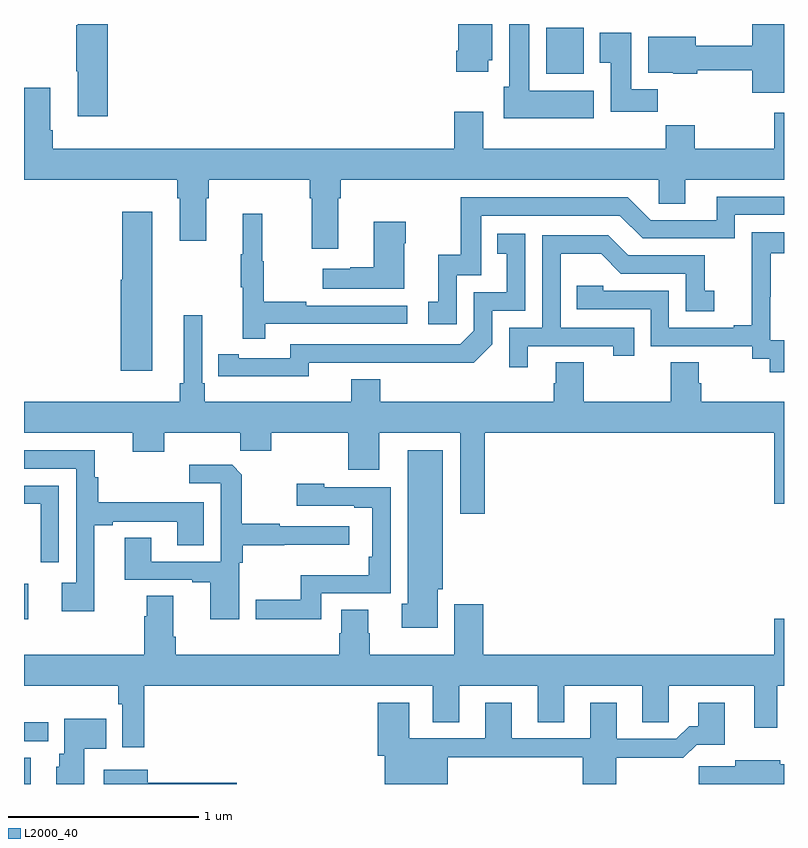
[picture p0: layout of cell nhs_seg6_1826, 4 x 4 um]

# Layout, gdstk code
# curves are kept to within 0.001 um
import gdstk
lib = gdstk.Library(unit=1e-6, precision=1e-09)
def R(c, l, rs):  # rectangles x0, y0, x1, y1
    for r in rs: c.add(gdstk.rectangle(r[:2], r[2:], *l))
def P(c, l, *ps):  # polygons
    for p in ps: c.add(gdstk.Polygon(p, *l))
L2000_40 = (2000, 40)

nhs_seg6_1826 = lib.new_cell('nhs_seg6_1826')
R(nhs_seg6_1826, L2000_40, [(221,933.5,221.035,933.637), (221,933.726,221.128,933.824), (221,934.367,221.023,934.554), (223.748,937.238,223.945,937.48)])
P(nhs_seg6_1826, L2000_40, [(223.999,937.15),(223.66,937.15),(223.66,937.5),(223.553,937.5),(223.553,937.17),(223.526,937.17),(223.526,937.004),(223.999,937.004)],
  [(221.441,937.5),(221.282,937.5),(221.282,937.493),(221.275,937.493),(221.275,937.252),(221.282,937.252),(221.282,937.014),(221.441,937.014)],
  [(223.444,937.308),(223.465,937.308),(223.465,937.5),(223.286,937.5),(223.286,937.36),(223.274,937.36),(223.274,937.248),(223.444,937.248)],
  [(225,937.498),(224.833,937.498),(224.833,937.385),(224.536,937.385),(224.536,937.432),(224.285,937.432),(224.285,937.244),(224.418,937.244),(224.418,937.238),(224.544,937.238),(224.544,937.257),(224.833,937.257),(224.833,937.137),(225,937.137)],
  [(224.336,937.156),(224.197,937.156),(224.197,937.453),(224.03,937.453),(224.03,937.297),(224.087,937.297),(224.087,937.038),(224.336,937.038)],
  [(222.655,936.584),(222.668,936.584),(222.668,936.68),(224.34,936.68),(224.34,936.553),(224.479,936.553),(224.479,936.68),(225,936.68),(225,937.033),(224.948,937.033),(224.948,936.844),(224.529,936.844),(224.529,936.968),(224.377,936.968),(224.377,936.844),(223.417,936.844),(223.417,937.039),(223.265,937.039),(223.265,936.844),(221.15,936.844),(221.15,936.94),(221.137,936.94),(221.137,937.165),(221,937.165),(221,936.68),(221.807,936.68),(221.807,936.584),(221.819,936.584),(221.819,936.36),(221.959,936.36),(221.959,936.584),(221.972,936.584),(221.972,936.68),(222.503,936.68),(222.503,936.584),(222.515,936.584),(222.515,936.318),(222.655,936.318)],
  [(223.278,936.177),(223.407,936.177),(223.407,936.492),(224.136,936.492),(224.256,936.372),(224.742,936.372),(224.742,936.495),(225,936.495),(225,936.591),(224.645,936.591),(224.645,936.468),(224.298,936.468),(224.178,936.588),(223.299,936.588),(223.299,936.286),(223.181,936.286),(223.181,936.039),(223.128,936.039),(223.128,935.919),(223.278,935.919)],
  [(221.674,936.511),(221.516,936.511),(221.516,936.153),(221.51,936.153),(221.51,935.676),(221.674,935.676)],
  [(222.269,935.922),(223.018,935.922),(223.018,936.018),(222.485,936.018),(222.485,936.038),(222.262,936.038),(222.262,936.252),(222.254,936.252),(222.254,936.502),(222.152,936.502),(222.152,936.289),(222.141,936.289),(222.141,936.115),(222.152,936.115),(222.152,935.844),(222.269,935.844)],
  [(223,936.347),(223.008,936.347),(223.008,936.46),(222.842,936.46),(222.842,936.221),(222.716,936.221),(222.716,936.211),(222.573,936.211),(222.573,936.107),(223,936.107)],
  [(225,935.835),(224.928,935.835),(224.928,936.065),(224.93,936.065),(224.93,936.293),(225,936.293),(225,936.403),(224.83,936.403),(224.83,936.197),(224.831,936.197),(224.831,935.914),(224.735,935.914),(224.735,935.901),(224.394,935.901),(224.394,936.096),(224.049,936.096),(224.049,936.123),(223.909,936.123),(223.909,936),(224.298,936),(224.298,935.805),(224.832,935.805),(224.832,935.737),(224.925,935.737),(224.925,935.667),(225,935.667)],
  [(222.498,935.718),(223.366,935.717),(223.464,935.814),(223.464,935.991),(223.638,935.991),(223.638,936.397),(223.492,936.397),(223.492,936.291),(223.541,936.291),(223.541,936.087),(223.368,936.087),(223.368,935.886),(223.296,935.814),(222.402,935.814),(222.402,935.742),(222.13,935.742),(222.13,935.762),(222.022,935.762),(222.022,935.646),(222.498,935.645)],
  [(223.651,935.805),(224.102,935.805),(224.102,935.754),(224.213,935.754),(224.213,935.901),(223.824,935.901),(223.824,936.29),(224.038,936.29),(224.142,936.186),(224.484,936.186),(224.484,935.988),(224.632,935.988),(224.632,936.097),(224.583,936.097),(224.583,936.282),(224.179,936.282),(224.074,936.387),(223.728,936.387),(223.728,935.901),(223.554,935.901),(223.554,935.694),(223.651,935.694)],
  [(223.424,935.348),(224.948,935.348),(224.948,934.974),(225,934.974),(225,935.512),(224.564,935.512),(224.564,935.61),(224.551,935.61),(224.551,935.72),(224.404,935.72),(224.404,935.512),(223.947,935.512),(223.947,935.72),(223.799,935.72),(223.799,935.61),(223.787,935.61),(223.787,935.512),(222.875,935.512),(222.875,935.629),(222.722,935.629),(222.722,935.512),(221.951,935.512),(221.951,935.608),(221.937,935.608),(221.937,935.968),(221.84,935.968),(221.84,935.608),(221.821,935.608),(221.821,935.512),(221,935.512),(221,935.348),(221.573,935.348),(221.573,935.249),(221.737,935.249),(221.737,935.348),(222.137,935.348),(222.137,935.255),(222.301,935.255),(222.301,935.348),(222.707,935.348),(222.707,935.154),(222.871,935.154),(222.871,935.348),(223.295,935.348),(223.295,934.923),(223.424,934.923)],
  [(223.177,934.524),(223.204,934.524),(223.204,935.257),(223.019,935.257),(223.019,934.448),(222.989,934.448),(222.989,934.322),(223.177,934.322)],
  [(221.371,934.861),(221.467,934.861),(221.467,934.881),(221.807,934.881),(221.807,934.756),(221.947,934.756),(221.947,934.982),(221.39,934.982),(221.39,935.114),(221.372,935.114),(221.372,935.256),(221.001,935.256),(221.001,935.16),(221.274,935.16),(221.274,934.558),(221.199,934.558),(221.199,934.41),(221.371,934.41)],
  [(222.132,934.664),(222.152,934.664),(222.152,934.756),(222.371,934.756),(222.371,934.76),(222.712,934.76),(222.712,934.857),(222.347,934.857),(222.347,934.87),(222.147,934.87),(222.147,935.127),(222.095,935.179),(221.871,935.179),(221.871,935.082),(222.036,935.082),(222.036,934.671),(221.671,934.671),(221.671,934.796),(221.531,934.796),(221.531,934.575),(221.885,934.575),(221.885,934.563),(221.981,934.563),(221.981,934.368),(222.132,934.368)],
  [(222.564,934.503),(222.93,934.503),(222.93,935.061),(222.579,935.061),(222.579,935.08),(222.435,935.08),(222.435,934.965),(222.737,934.965),(222.737,934.953),(222.834,934.953),(222.834,934.696),(222.814,934.696),(222.814,934.6),(222.456,934.6),(222.456,934.469),(222.219,934.469),(222.219,934.367),(222.564,934.367)],
  [(221.184,935.07),(221,935.07),(221,934.974),(221.088,934.974),(221.088,934.668),(221.184,934.668)],
  [(221.633,934.016),(223.151,934.016),(223.151,933.826),(223.291,933.826),(223.291,934.016),(223.703,934.016),(223.703,933.826),(223.843,933.826),(223.843,934.016),(224.255,934.016),(224.255,933.826),(224.394,933.826),(224.394,934.016),(224.843,934.016),(224.843,933.795),(224.965,933.795),(224.965,934.016),(225,934.016),(225,934.369),(224.948,934.369),(224.948,934.18),(223.418,934.18),(223.418,934.447),(223.265,934.447),(223.265,934.18),(222.819,934.18),(222.819,934.293),(222.811,934.293),(222.811,934.418),(222.671,934.418),(222.671,934.293),(222.659,934.293),(222.659,934.18),(221.798,934.18),(221.798,934.276),(221.785,934.276),(221.785,934.49),(221.645,934.49),(221.645,934.382),(221.633,934.382),(221.633,934.18),(221,934.18),(221,934.016),(221.497,934.016),(221.497,933.92),(221.517,933.92),(221.517,933.693),(221.633,933.693)],
  [(223.231,933.64),(223.94,933.64),(223.94,933.5),(224.118,933.5),(224.118,933.638),(224.471,933.638),(224.54,933.707),(224.689,933.707),(224.689,933.928),(224.549,933.928),(224.549,933.805),(224.5,933.805),(224.433,933.738),(224.119,933.738),(224.119,933.928),(223.979,933.928),(223.979,933.741),(223.567,933.741),(223.567,933.928),(223.427,933.928),(223.427,933.741),(223.027,933.741),(223.027,933.928),(222.863,933.928),(222.863,933.648),(222.899,933.648),(222.899,933.5),(223.231,933.5)],
  [(221.317,933.686),(221.432,933.686),(221.432,933.844),(221.213,933.844),(221.213,933.66),(221.186,933.66),(221.186,933.591),(221.171,933.591),(221.171,933.5),(221.317,933.5)],
  [(225,933.603),(224.98,933.603),(224.98,933.625),(224.744,933.625),(224.744,933.593),(224.55,933.593),(224.55,933.5),(225,933.5)],
  [(222.121,933.506),(221.65,933.506),(221.65,933.574),(221.42,933.574),(221.42,933.5),(222.121,933.5)])

lib.write_gds('nhs_seg6_1826.gds')
